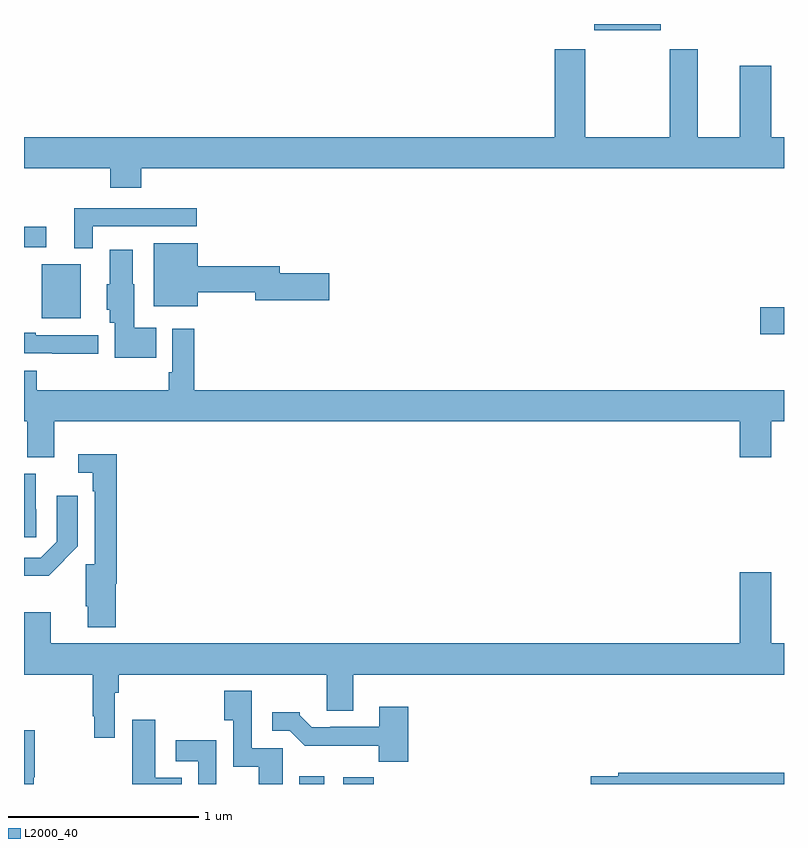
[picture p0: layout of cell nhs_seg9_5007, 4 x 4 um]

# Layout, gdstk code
import gdstk
lib = gdstk.Library(unit=1e-6, precision=1e-09)
def R(c, l, rs):  # rectangles x0, y0, x1, y1
    for r in rs: c.add(gdstk.rectangle(r[:2], r[2:], *l))
def P(c, l, *ps):  # polygons
    for p in ps: c.add(gdstk.Polygon(p, *l))
L2000_40 = (2000, 40)

nhs_seg9_5007 = lib.new_cell('nhs_seg9_5007')
R(nhs_seg9_5007, L2000_40, [(402.449,1206.5,402.58,1206.541), (402.68,1206.5,402.842,1206.535), (404.874,1208.866,405,1209.008), (401.093,1208.951,401.299,1209.235), (401,1209.324,401.116,1209.433), (404,1210.466,404.35,1210.5)])
P(nhs_seg9_5007, L2000_40, [(401.618,1209.74),(405,1209.74),(405,1209.904),(404.932,1209.904),(404.932,1210.279),(404.768,1210.279),(404.768,1209.904),(404.545,1209.904),(404.545,1210.366),(404.398,1210.366),(404.398,1209.904),(403.953,1209.904),(403.953,1210.366),(403.793,1210.366),(403.793,1209.904),(401,1209.904),(401,1209.74),(401.453,1209.74),(401.453,1209.638),(401.618,1209.638)],
  [(401.361,1209.435),(401.908,1209.435),(401.908,1209.531),(401.264,1209.531),(401.264,1209.32),(401.361,1209.32)],
  [(401.914,1209.088),(402.218,1209.088),(402.218,1209.046),(402.607,1209.046),(402.607,1209.188),(402.346,1209.188),(402.346,1209.224),(401.914,1209.224),(401.914,1209.346),(401.684,1209.346),(401.684,1209.014),(401.914,1209.014)],
  [(401.696,1208.902),(401.581,1208.902),(401.581,1209.129),(401.572,1209.129),(401.572,1209.313),(401.45,1209.313),(401.45,1209.129),(401.435,1209.129),(401.435,1208.997),(401.45,1208.997),(401.45,1208.928),(401.477,1208.928),(401.477,1208.744),(401.696,1208.744)],
  [(401.158,1208.408),(404.768,1208.408),(404.768,1208.22),(404.932,1208.22),(404.932,1208.408),(405,1208.408),(405,1208.572),(401.897,1208.572),(401.897,1208.896),(401.781,1208.896),(401.781,1208.668),(401.761,1208.668),(401.761,1208.572),(401.066,1208.572),(401.066,1208.674),(401,1208.674),(401,1208.408),(401.018,1208.408),(401.018,1208.219),(401.158,1208.219)],
  [(401.392,1208.862),(401.062,1208.862),(401.062,1208.875),(401,1208.875),(401,1208.766),(401.149,1208.766),(401.149,1208.765),(401.392,1208.765)],
  [(401.483,1207.553),(401.489,1207.553),(401.489,1208.236),(401.286,1208.236),(401.286,1208.139),(401.361,1208.139),(401.361,1208.042),(401.373,1208.042),(401.373,1207.656),(401.324,1207.656),(401.324,1207.435),(401.336,1207.435),(401.336,1207.325),(401.483,1207.325)],
  [(401.064,1207.947),(401.062,1207.947),(401.062,1208.134),(401,1208.134),(401,1207.8),(401.064,1207.8)],
  [(401.211,1207.677),(401.21,1207.678),(401.284,1207.752),(401.284,1208.017),(401.172,1208.017),(401.172,1207.776),(401.088,1207.692),(401,1207.692),(401,1207.595),(401.129,1207.595)],
  [(401.478,1206.98),(401.498,1206.98),(401.498,1207.076),(402.593,1207.076),(402.593,1206.886),(402.733,1206.886),(402.733,1207.076),(405,1207.076),(405,1207.24),(404.932,1207.24),(404.932,1207.615),(404.768,1207.615),(404.768,1207.24),(401.14,1207.24),(401.14,1207.405),(401,1207.405),(401,1207.076),(401.362,1207.076),(401.362,1206.856),(401.37,1206.856),(401.37,1206.744),(401.478,1206.744)],
  [(402.361,1206.687),(402.198,1206.687),(402.198,1206.991),(402.055,1206.991),(402.055,1206.835),(402.102,1206.835),(402.102,1206.59),(402.236,1206.59),(402.236,1206.5),(402.361,1206.5)],
  [(403.022,1206.907),(402.869,1206.907),(402.869,1206.801),(402.613,1206.801),(402.613,1206.798),(402.514,1206.798),(402.45,1206.862),(402.45,1206.877),(402.306,1206.877),(402.306,1206.78),(402.399,1206.78),(402.478,1206.702),(402.867,1206.702),(402.867,1206.617),(403.022,1206.617)],
  [(401.831,1206.532),(401.692,1206.532),(401.692,1206.838),(401.57,1206.838),(401.57,1206.5),(401.831,1206.5)],
  [(401.052,1206.535),(401.057,1206.535),(401.057,1206.784),(401,1206.784),(401,1206.5),(401.052,1206.5)],
  [(402.012,1206.73),(401.799,1206.73),(401.799,1206.621),(401.916,1206.621),(401.916,1206.5),(402.012,1206.5)],
  [(405,1206.56),(404.128,1206.56),(404.128,1206.54),(403.982,1206.54),(403.982,1206.5),(405,1206.5)])

lib.write_gds('nhs_seg9_5007.gds')
